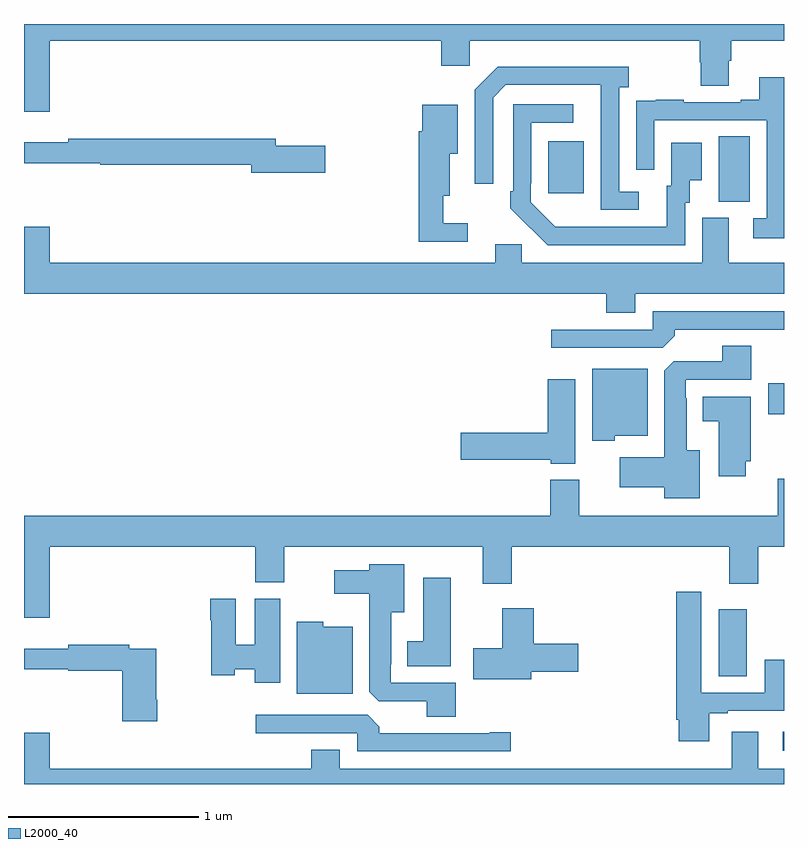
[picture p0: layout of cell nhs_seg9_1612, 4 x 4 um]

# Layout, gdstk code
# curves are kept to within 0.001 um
import gdstk
lib = gdstk.Library(unit=1e-6, precision=1e-09)
def R(c, l, rs):  # rectangles x0, y0, x1, y1
    for r in rs: c.add(gdstk.rectangle(r[:2], r[2:], *l))
def P(c, l, *ps):  # polygons
    for p in ps: c.add(gdstk.Polygon(p, *l))
L2000_40 = (2000, 40)

nhs_seg9_1612 = lib.new_cell('nhs_seg9_1612')
R(nhs_seg9_1612, L2000_40, [(204.993,1200.674,205,1200.775), (204.656,1201.066,204.805,1201.42), (204.918,1202.446,205,1202.608), (204.656,1203.565,204.82,1203.908), (203.759,1203.609,203.947,1203.883)])
P(nhs_seg9_1612, L2000_40, [(201.136,1204.412),(203.195,1204.412),(203.195,1204.281),(203.346,1204.281),(203.346,1204.412),(204.557,1204.412),(204.557,1204.299),(204.562,1204.299),(204.562,1204.174),(204.709,1204.174),(204.709,1204.306),(204.722,1204.306),(204.722,1204.412),(205,1204.412),(205,1204.5),(201,1204.5),(201,1204.038),(201.136,1204.038)],
  [(204.235,1203.618),(204.132,1203.618),(204.132,1204.166),(204.184,1204.166),(204.184,1204.276),(203.494,1204.276),(203.373,1204.155),(203.373,1203.66),(203.469,1203.66),(203.469,1204.113),(203.535,1204.179),(204.035,1204.179),(204.036,1203.522),(204.235,1203.522)],
  [(205,1204.219),(204.869,1204.219),(204.869,1204.102),(204.773,1204.102),(204.773,1204.089),(204.473,1204.089),(204.473,1204.102),(204.325,1204.102),(204.325,1204.095),(204.223,1204.095),(204.223,1203.986),(204.222,1203.986),(204.222,1203.732),(204.318,1203.732),(204.318,1203.993),(204.909,1203.993),(204.909,1203.477),(204.837,1203.477),(204.837,1203.372),(205,1203.372)],
  [(204.48,1203.558),(204.505,1203.558),(204.505,1203.677),(204.568,1203.677),(204.568,1203.874),(204.407,1203.874),(204.407,1203.648),(204.383,1203.648),(204.383,1203.432),(203.796,1203.433),(203.667,1203.561),(203.667,1203.661),(203.67,1203.661),(203.67,1203.981),(203.89,1203.981),(203.89,1204.077),(203.574,1204.077),(203.574,1203.619),(203.559,1203.619),(203.559,1203.531),(203.756,1203.336),(204.48,1203.336)],
  [(203.335,1203.451),(203.206,1203.451),(203.206,1203.596),(203.242,1203.596),(203.242,1203.818),(203.284,1203.818),(203.284,1204.075),(203.096,1204.075),(203.096,1203.936),(203.077,1203.936),(203.077,1203.354),(203.335,1203.354)],
  [(202.585,1203.86),(202.324,1203.86),(202.324,1203.896),(201.232,1203.896),(201.232,1203.877),(201,1203.877),(201,1203.768),(201.4,1203.768),(201.4,1203.76),(202.196,1203.76),(202.196,1203.718),(202.585,1203.718)],
  [(204.217,1203.08),(205,1203.08),(205,1203.244),(204.709,1203.244),(204.709,1203.48),(204.569,1203.48),(204.569,1203.244),(203.619,1203.244),(203.619,1203.342),(203.48,1203.342),(203.48,1203.244),(201.136,1203.244),(201.136,1203.433),(201,1203.433),(201,1203.08),(204.065,1203.08),(204.065,1202.981),(204.217,1202.981)],
  [(204.425,1202.858),(204.425,1202.892),(205,1202.892),(205,1202.988),(204.309,1202.988),(204.309,1202.892),(203.775,1202.892),(203.775,1202.796),(204.363,1202.796)],
  [(204.556,1202.257),(204.487,1202.257),(204.487,1202.531),(204.483,1202.531),(204.483,1202.628),(204.827,1202.628),(204.827,1202.807),(204.674,1202.807),(204.674,1202.724),(204.42,1202.724),(204.371,1202.675),(204.371,1202.221),(204.135,1202.221),(204.135,1202.063),(204.371,1202.063),(204.371,1202.003),(204.556,1202.003)],
  [(204.108,1202.333),(204.283,1202.333),(204.283,1202.686),(203.99,1202.686),(203.99,1202.306),(204.108,1202.306)],
  [(203.902,1202.629),(203.756,1202.629),(203.756,1202.348),(203.298,1202.348),(203.298,1202.206),(203.772,1202.206),(203.772,1202.186),(203.902,1202.186)],
  [(204.799,1202.199),(204.826,1202.199),(204.826,1202.539),(204.572,1202.539),(204.572,1202.408),(204.656,1202.408),(204.656,1202.121),(204.799,1202.121)],
  [(203.923,1202.101),(203.771,1202.101),(203.771,1201.912),(201,1201.912),(201,1201.374),(201.136,1201.374),(201.136,1201.748),(202.217,1201.748),(202.217,1201.561),(202.369,1201.561),(202.369,1201.748),(203.414,1201.748),(203.414,1201.554),(203.567,1201.554),(203.567,1201.748),(204.713,1201.748),(204.713,1201.554),(204.865,1201.554),(204.865,1201.748),(205,1201.748),(205,1202.107),(204.968,1202.107),(204.968,1201.912),(203.923,1201.912)],
  [(203.273,1201.032),(202.929,1201.032),(202.929,1201.129),(202.933,1201.129),(202.933,1201.403),(203.002,1201.403),(203.002,1201.657),(202.817,1201.657),(202.817,1201.624),(202.632,1201.624),(202.632,1201.502),(202.817,1201.502),(202.817,1200.985),(202.866,1200.936),(203.12,1200.936),(203.12,1200.853),(203.273,1200.853)],
  [(203.245,1201.585),(203.102,1201.585),(203.102,1201.252),(203.018,1201.252),(203.018,1201.121),(203.245,1201.121)],
  [(204.607,1200.873),(204.703,1200.873),(204.703,1200.885),(205,1200.885),(205,1201.153),(204.899,1201.153),(204.899,1200.981),(204.565,1200.981),(204.565,1201.513),(204.434,1201.513),(204.434,1200.838),(204.446,1200.838),(204.446,1200.726),(204.607,1200.726)],
  [(202.348,1201.476),(202.214,1201.476),(202.214,1201.233),(202.114,1201.233),(202.114,1201.474),(201.98,1201.474),(201.98,1201.361),(201.985,1201.361),(201.985,1201.073),(202.11,1201.073),(202.11,1201.103),(202.214,1201.103),(202.214,1201.032),(202.348,1201.032)],
  [(203.671,1201.091),(203.917,1201.091),(203.917,1201.238),(203.684,1201.238),(203.684,1201.426),(203.516,1201.426),(203.516,1201.215),(203.364,1201.215),(203.364,1201.052),(203.671,1201.052)],
  [(202.729,1201.327),(202.575,1201.327),(202.575,1201.354),(202.436,1201.354),(202.436,1200.974),(202.729,1200.974)],
  [(201.701,1200.943),(201.696,1200.943),(201.696,1201.212),(201.554,1201.212),(201.554,1201.232),(201.232,1201.232),(201.232,1201.213),(201,1201.213),(201,1201.104),(201.234,1201.104),(201.234,1201.096),(201.518,1201.096),(201.518,1200.831),(201.701,1200.831)],
  [(203.563,1200.773),(203.45,1200.773),(203.45,1200.768),(202.871,1200.768),(202.871,1200.802),(202.809,1200.864),(202.221,1200.864),(202.221,1200.768),(202.755,1200.768),(202.755,1200.672),(203.563,1200.672)],
  [(205,1200.58),(204.865,1200.58),(204.865,1200.775),(204.725,1200.775),(204.725,1200.58),(202.663,1200.58),(202.663,1200.679),(202.511,1200.679),(202.511,1200.58),(201.136,1200.58),(201.136,1200.769),(201,1200.769),(201,1200.5),(205,1200.5)])

lib.write_gds('nhs_seg9_1612.gds')
